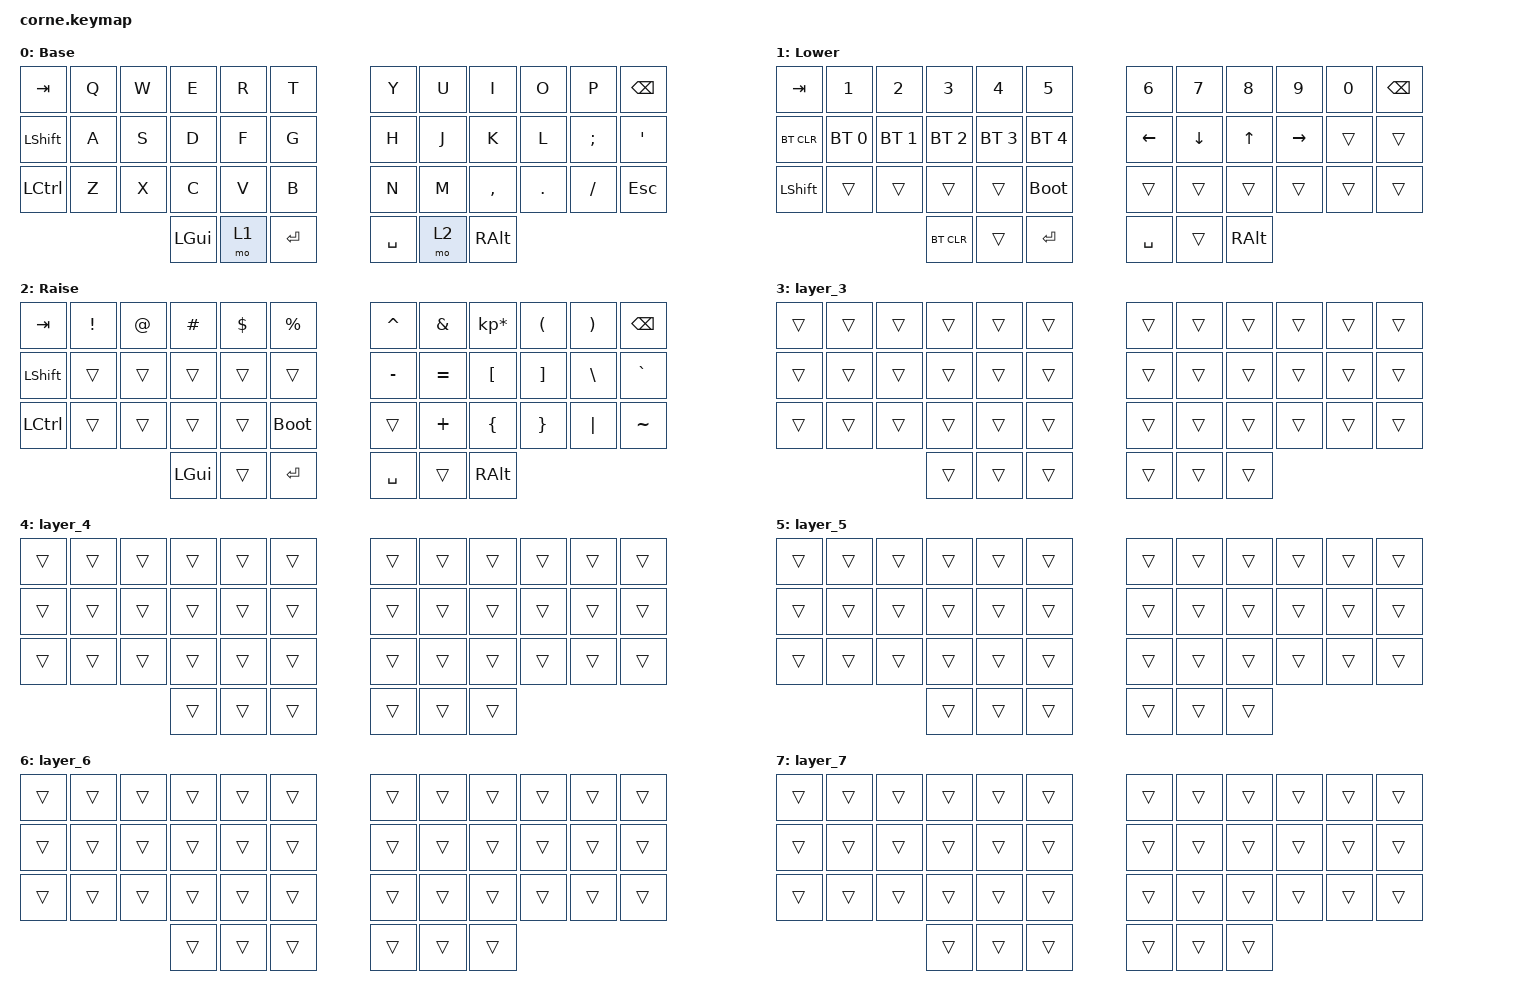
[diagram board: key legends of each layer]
/*
 * Copyright (c) 2020 The ZMK Contributors
 *
 * SPDX-License-Identifier: MIT
 */

#include <behaviors.dtsi>
#include <dt-bindings/zmk/bt.h>
#include <dt-bindings/zmk/keys.h>

/ {
    keymap {
        compatible = "zmk,keymap";

        default_layer {
            // -----------------------------------------------------------------------------------------
            // |  TAB |  Q  |  W  |  E  |  R  |  T  |   |  Y  |  U   |  I  |  O  |  P  | BKSP |
            // | CTRL |  A  |  S  |  D  |  F  |  G  |   |  H  |  J   |  K  |  L  |  ;  |  '   |
            // | SHFT |  Z  |  X  |  C  |  V  |  B  |   |  N  |  M   |  ,  |  .  |  /  | ESC  |
            //                    | GUI | LWR | SPC |   | ENT | RSE  | ALT |

            label = "Base";
            bindings = <
&kp TAB         &kp Q  &kp W  &kp E     &kp R  &kp T        &kp Y      &kp U  &kp I      &kp O    &kp P     &kp BSPC
&kp LEFT_SHIFT  &kp A  &kp S  &kp D     &kp F  &kp G        &kp H      &kp J  &kp K      &kp L    &kp SEMI  &kp SQT
&kp LCTRL       &kp Z  &kp X  &kp C     &kp V  &kp B        &kp N      &kp M  &kp COMMA  &kp DOT  &kp FSLH  &kp ESC
                              &kp LGUI  &mo 1  &kp ENTER    &kp SPACE  &mo 2  &kp RALT
            >;
        };

        lower_layer {
            // -----------------------------------------------------------------------------------------
            // |  TAB |  1  |  2  |  3  |  4  |  5  |   |  6  |  7  |  8  |  9  |  0  | BKSP |
            // | BTCLR| BT1 | BT2 | BT3 | BT4 | BT5 |   | LFT | DWN |  UP | RGT |     |      |
            // | SHFT |     |     |     |     |     |   |     |     |     |     |     |      |
            //                    |BTCLR|     | SPC |   | ENT |     | ALT |

            label = "Lower";
            bindings = <
&kp TAB     &kp N1        &kp N2        &kp N3        &kp N4        &kp N5          &kp N6     &kp N7    &kp N8    &kp N9     &kp N0  &kp BSPC
&bt BT_CLR  &bt BT_SEL 0  &bt BT_SEL 1  &bt BT_SEL 2  &bt BT_SEL 3  &bt BT_SEL 4    &kp LEFT   &kp DOWN  &kp UP    &kp RIGHT  &trans  &trans
&kp LSHFT   &trans        &trans        &trans        &trans        &bootloader     &trans     &trans    &trans    &trans     &trans  &trans
                                        &bt BT_CLR    &trans        &kp ENTER       &kp SPACE  &trans    &kp RALT
            >;
        };

        raise_layer {
            // -----------------------------------------------------------------------------------------
            // |  TAB |  !  |  @  |  #  |  $  |  %  |   |  ^  |  &  |  *  |  (  |  )  | BKSP |
            // | CTRL |     |     |     |     |     |   |  -  |  =  |  [  |  ]  |  \  |  `   |
            // | SHFT |     |     |     |     |     |   |  _  |  +  |  {  |  }  | "|" |  ~   |
            //                    | GUI |     | SPC |   | ENT |     | ALT |

            label = "Raise";
            bindings = <
&kp TAB         &kp EXCL  &kp AT  &kp HASH  &kp DLLR  &kp PRCNT      &kp CARET  &kp AMPS   &kp KP_MULTIPLY  &kp LPAR  &kp RPAR  &kp BSPC
&kp LEFT_SHIFT  &trans    &trans  &trans    &trans    &trans         &kp MINUS  &kp EQUAL  &kp LBKT         &kp RBKT  &kp BSLH  &kp GRAVE
&kp LCTRL       &trans    &trans  &trans    &trans    &bootloader    &trans     &kp PLUS   &kp LBRC         &kp RBRC  &kp PIPE  &kp TILDE
                                  &kp LGUI  &trans    &kp ENTER      &kp SPACE  &trans     &kp RALT
            >;
        };

        layer_3 {
            bindings = <
&trans  &trans  &trans  &trans  &trans  &trans    &trans  &trans  &trans  &trans  &trans  &trans
&trans  &trans  &trans  &trans  &trans  &trans    &trans  &trans  &trans  &trans  &trans  &trans
&trans  &trans  &trans  &trans  &trans  &trans    &trans  &trans  &trans  &trans  &trans  &trans
                        &trans  &trans  &trans    &trans  &trans  &trans
            >;
        };

        layer_4 {
            bindings = <
&trans  &trans  &trans  &trans  &trans  &trans    &trans  &trans  &trans  &trans  &trans  &trans
&trans  &trans  &trans  &trans  &trans  &trans    &trans  &trans  &trans  &trans  &trans  &trans
&trans  &trans  &trans  &trans  &trans  &trans    &trans  &trans  &trans  &trans  &trans  &trans
                        &trans  &trans  &trans    &trans  &trans  &trans
            >;
        };

        layer_5 {
            bindings = <
&trans  &trans  &trans  &trans  &trans  &trans    &trans  &trans  &trans  &trans  &trans  &trans
&trans  &trans  &trans  &trans  &trans  &trans    &trans  &trans  &trans  &trans  &trans  &trans
&trans  &trans  &trans  &trans  &trans  &trans    &trans  &trans  &trans  &trans  &trans  &trans
                        &trans  &trans  &trans    &trans  &trans  &trans
            >;
        };

        layer_6 {
            bindings = <
&trans  &trans  &trans  &trans  &trans  &trans    &trans  &trans  &trans  &trans  &trans  &trans
&trans  &trans  &trans  &trans  &trans  &trans    &trans  &trans  &trans  &trans  &trans  &trans
&trans  &trans  &trans  &trans  &trans  &trans    &trans  &trans  &trans  &trans  &trans  &trans
                        &trans  &trans  &trans    &trans  &trans  &trans
            >;
        };

        layer_7 {
            bindings = <
&trans  &trans  &trans  &trans  &trans  &trans    &trans  &trans  &trans  &trans  &trans  &trans
&trans  &trans  &trans  &trans  &trans  &trans    &trans  &trans  &trans  &trans  &trans  &trans
&trans  &trans  &trans  &trans  &trans  &trans    &trans  &trans  &trans  &trans  &trans  &trans
                        &trans  &trans  &trans    &trans  &trans  &trans
            >;
        };
    };
};
